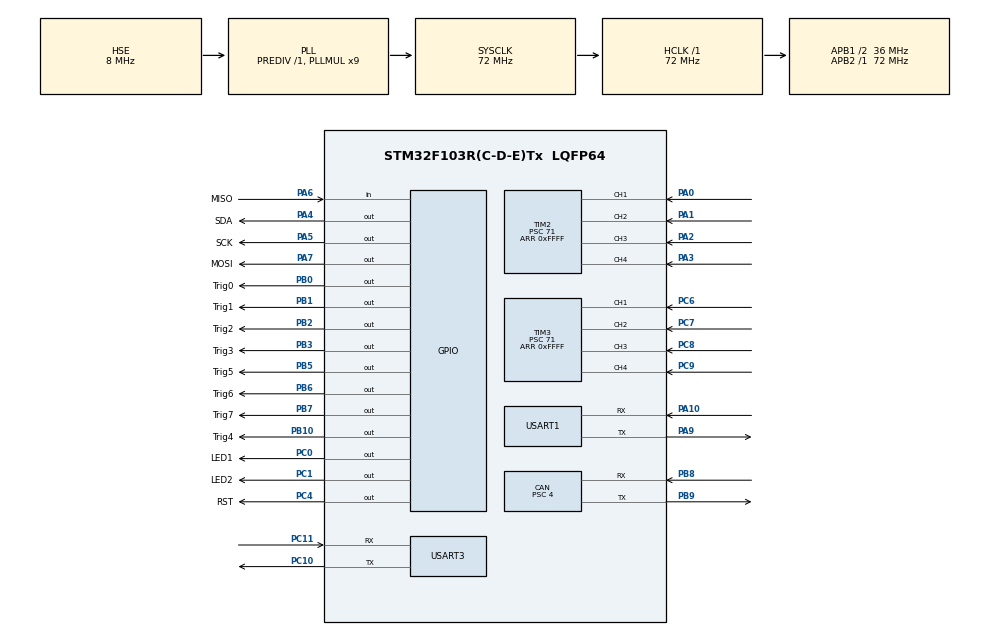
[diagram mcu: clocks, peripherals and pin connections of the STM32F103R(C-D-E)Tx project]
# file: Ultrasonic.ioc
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CAN.ABOM=ENABLE
CAN.BS1=CAN_BS1_4TQ
CAN.BS2=CAN_BS2_4TQ
CAN.CalculateTimeBit=1000
CAN.CalculateTimeQuantum=111.11111111111111
CAN.Prescaler=4
CAN.SJW=CAN_SJW_1TQ
Dma.Request0=USART1_RX
Dma.Request1=USART1_TX
Dma.Request2=USART3_RX
Dma.Request3=USART3_TX
Dma.USART1_RX.0.Direction=DMA_PERIPH_TO_MEMORY
Dma.USART1_RX.0.Instance=DMA1_Channel5
Dma.USART1_RX.0.MemDataAlignment=DMA_MDATAALIGN_BYTE
Dma.USART1_RX.0.MemInc=DMA_MINC_ENABLE
Dma.USART1_RX.0.Mode=DMA_NORMAL
Dma.USART1_RX.0.PeriphDataAlignment=DMA_PDATAALIGN_BYTE
Dma.USART1_RX.0.PeriphInc=DMA_PINC_DISABLE
Dma.USART1_RX.0.Priority=DMA_PRIORITY_LOW
Dma.USART1_TX.1.Direction=DMA_MEMORY_TO_PERIPH
Dma.USART1_TX.1.Instance=DMA1_Channel4
Dma.USART1_TX.1.MemDataAlignment=DMA_MDATAALIGN_BYTE
Dma.USART1_TX.1.MemInc=DMA_MINC_ENABLE
Dma.USART1_TX.1.Mode=DMA_CIRCULAR
Dma.USART1_TX.1.PeriphDataAlignment=DMA_PDATAALIGN_BYTE
Dma.USART1_TX.1.PeriphInc=DMA_PINC_DISABLE
Dma.USART1_TX.1.Priority=DMA_PRIORITY_LOW
Dma.USART3_RX.2.Direction=DMA_PERIPH_TO_MEMORY
Dma.USART3_RX.2.Instance=DMA1_Channel3
Dma.USART3_RX.2.MemDataAlignment=DMA_MDATAALIGN_BYTE
Dma.USART3_RX.2.MemInc=DMA_MINC_ENABLE
Dma.USART3_RX.2.Mode=DMA_NORMAL
Dma.USART3_RX.2.PeriphDataAlignment=DMA_PDATAALIGN_BYTE
Dma.USART3_RX.2.PeriphInc=DMA_PINC_DISABLE
Dma.USART3_RX.2.Priority=DMA_PRIORITY_LOW
Dma.USART3_TX.3.Direction=DMA_MEMORY_TO_PERIPH
Dma.USART3_TX.3.Instance=DMA1_Channel2
Dma.USART3_TX.3.MemDataAlignment=DMA_MDATAALIGN_BYTE
Dma.USART3_TX.3.MemInc=DMA_MINC_ENABLE
Dma.USART3_TX.3.Mode=DMA_NORMAL
Dma.USART3_TX.3.PeriphDataAlignment=DMA_PDATAALIGN_BYTE
Dma.USART3_TX.3.PeriphInc=DMA_PINC_DISABLE
Dma.USART3_TX.3.Priority=DMA_PRIORITY_LOW
Mcu.Family=STM32F1
Mcu.Name=STM32F103R(C-D-E)Tx
Mcu.Package=LQFP64
NVIC.DMA1_Channel2_IRQn=true\:0\:0\:false\:false\:true
NVIC.DMA1_Channel3_IRQn=true\:0\:0\:false\:false\:true
NVIC.DMA1_Channel4_IRQn=true\:0\:0\:false\:false\:true
NVIC.DMA1_Channel5_IRQn=true\:0\:0\:false\:false\:true
NVIC.PriorityGroup=NVIC_PRIORITYGROUP_2
NVIC.TIM2_IRQn=true\:0\:2\:false\:false\:true
NVIC.TIM3_IRQn=true\:0\:2\:false\:false\:true
NVIC.TIM6_IRQn=true\:0\:1\:true\:false\:true
NVIC.USART1_IRQn=true\:0\:0\:false\:false\:true
NVIC.USART3_IRQn=true\:0\:0\:false\:false\:true
PA0-WKUP.Signal=S_TIM2_CH1_ETR
PA1.Signal=S_TIM2_CH2
PA10.Mode=Asynchronous
PA10.Signal=USART1_RX
PA13.Mode=Serial_Wire
PA13.Signal=SYS_JTMS-SWDIO
PA14.Mode=Serial_Wire
PA14.Signal=SYS_JTCK-SWCLK
PA2.Signal=S_TIM2_CH3
PA3.Signal=S_TIM2_CH4
PA4.GPIO_Label=SDA
PA4.GPIO_Speed=GPIO_SPEED_FREQ_HIGH
PA4.Signal=GPIO_Output
PA5.GPIO_Label=SCK
PA5.GPIO_Speed=GPIO_SPEED_FREQ_HIGH
PA5.Signal=GPIO_Output
PA6.GPIO_Label=MISO
PA6.Signal=GPIO_Input
PA7.GPIO_Label=MOSI
PA7.GPIO_Speed=GPIO_SPEED_FREQ_HIGH
PA7.Signal=GPIO_Output
PA9.Mode=Asynchronous
PA9.Signal=USART1_TX
PB0.GPIO_Label=Trig0
PB0.GPIO_Speed=GPIO_SPEED_FREQ_LOW
PB0.Signal=GPIO_Output
PB1.GPIO_Label=Trig1
PB1.Signal=GPIO_Output
PB10.GPIO_Label=Trig4
PB10.Signal=GPIO_Output
PB2.GPIO_Label=Trig2
PB2.Signal=GPIO_Output
PB3.GPIO_Label=Trig3
PB3.Signal=GPIO_Output
PB5.GPIO_Label=Trig5
PB5.Signal=GPIO_Output
PB6.GPIO_Label=Trig6
PB6.Signal=GPIO_Output
PB7.GPIO_Label=Trig7
PB7.Signal=GPIO_Output
PB8.Mode=Master
PB8.Signal=CAN_RX
PB9.Mode=Master
PB9.Signal=CAN_TX
PC0.GPIO_Label=LED1
PC0.Signal=GPIO_Output
PC1.GPIO_Label=LED2
PC1.Signal=GPIO_Output
PC10.Mode=Asynchronous
PC10.Signal=USART3_TX
PC11.Mode=Asynchronous
PC11.Signal=USART3_RX
PC4.GPIO_Label=RST
PC4.GPIO_Speed=GPIO_SPEED_FREQ_HIGH
PC4.PinState=GPIO_PIN_RESET
PC4.Signal=GPIO_Output
PC6.Signal=S_TIM3_CH1
PC7.Signal=S_TIM3_CH2
PC8.Signal=S_TIM3_CH3
PC9.Signal=S_TIM3_CH4
PD0-OSC_IN.Mode=HSE-External-Oscillator
PD0-OSC_IN.Signal=RCC_OSC_IN
PD1-OSC_OUT.Mode=HSE-External-Oscillator
PD1-OSC_OUT.Signal=RCC_OSC_OUT
ProjectManager.HeapSize=0x200
ProjectManager.StackSize=0x400
ProjectManager.TargetToolchain=MDK-ARM V5
RCC.AHBFreq_Value=72000000
RCC.APB1CLKDivider=RCC_HCLK_DIV2
RCC.APB1Freq_Value=36000000
RCC.APB1TimCLKDivider=1
RCC.APB1TimFreq_Value=36000000
RCC.APB2Freq_Value=72000000
RCC.APB2TimFreq_Value=72000000
RCC.HCLKFreq_Value=72000000
RCC.HSIState=RCC_HSI_ON
RCC.PLLMUL=RCC_PLL_MUL9
RCC.PLLSourceVirtual=RCC_PLLSOURCE_HSE
RCC.SYSCLKFreq_VALUE=72000000
RCC.SYSCLKSource=RCC_SYSCLKSOURCE_PLLCLK
RCC.USBFreq_Value=72000000
SH.S_TIM2_CH1_ETR.0=TIM2_CH1,Input_Capture1_from_TI1
SH.S_TIM2_CH2.0=TIM2_CH2,Input_Capture2_from_TI2
SH.S_TIM2_CH3.0=TIM2_CH3,Input_Capture3_from_TI3
SH.S_TIM2_CH4.0=TIM2_CH4,Input_Capture4_from_TI4
SH.S_TIM3_CH1.0=TIM3_CH1,Input_Capture1_from_TI1
SH.S_TIM3_CH2.0=TIM3_CH2,Input_Capture2_from_TI2
SH.S_TIM3_CH3.0=TIM3_CH3,Input_Capture3_from_TI3
SH.S_TIM3_CH4.0=TIM3_CH4,Input_Capture4_from_TI4
TIM2.Channel-Input_Capture2_from_TI2=TIM_CHANNEL_2
TIM2.Channel-Input_Capture3_from_TI3=TIM_CHANNEL_3
TIM2.Channel-Input_Capture4_from_TI4=TIM_CHANNEL_4
TIM2.Period=0xFFFF
TIM2.Prescaler=71
TIM3.Channel-Input_Capture2_from_TI2=TIM_CHANNEL_2
TIM3.Channel-Input_Capture3_from_TI3=TIM_CHANNEL_3
TIM3.Channel-Input_Capture4_from_TI4=TIM_CHANNEL_4
TIM3.Period=0xFFFF
TIM3.Prescaler=71
TIM6.Period=100
TIM6.Prescaler=71
VP_TIM6_VS_ClockSourceINT.Mode=Enable_Timer
board=Ultrasonic

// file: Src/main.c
/**
  ******************************************************************************
  * File Name          : main.c
  * Description        : Main program body
  ******************************************************************************
  *
  * COPYRIGHT(c) 2018 STMicroelectronics
  *
  * Redistribution and use in source and binary forms, with or without modification,
  * are permitted provided that the following conditions are met:
  *   1. Redistributions of source code must retain the above copyright notice,
  *      this list of conditions and the following disclaimer.
  *   2. Redistributions in binary form must reproduce the above copyright notice,
  *      this list of conditions and the following disclaimer in the documentation
  *      and/or other materials provided with the distribution.
  *   3. Neither the name of STMicroelectronics nor the names of its contributors
  *      may be used to endorse or promote products derived from this software
  *      without specific prior written permission.
  *
  * THIS SOFTWARE IS PROVIDED BY THE COPYRIGHT HOLDERS AND CONTRIBUTORS "AS IS"
  * AND ANY EXPRESS OR IMPLIED WARRANTIES, INCLUDING, BUT NOT LIMITED TO, THE
  * IMPLIED WARRANTIES OF MERCHANTABILITY AND FITNESS FOR A PARTICULAR PURPOSE ARE
  * DISCLAIMED. IN NO EVENT SHALL THE COPYRIGHT HOLDER OR CONTRIBUTORS BE LIABLE
  * FOR ANY DIRECT, INDIRECT, INCIDENTAL, SPECIAL, EXEMPLARY, OR CONSEQUENTIAL
  * DAMAGES (INCLUDING, BUT NOT LIMITED TO, PROCUREMENT OF SUBSTITUTE GOODS OR
  * SERVICES; LOSS OF USE, DATA, OR PROFITS; OR BUSINESS INTERRUPTION) HOWEVER
  * CAUSED AND ON ANY THEORY OF LIABILITY, WHETHER IN CONTRACT, STRICT LIABILITY,
  * OR TORT (INCLUDING NEGLIGENCE OR OTHERWISE) ARISING IN ANY WAY OUT OF THE USE
  * OF THIS SOFTWARE, EVEN IF ADVISED OF THE POSSIBILITY OF SUCH DAMAGE.
  *
  ******************************************************************************
  */
#include "stm32f1xx_hal.h"
#include "can.h"
#include "dma.h"
#include "tim.h"
#include "usart.h"
#include "gpio.h"

/* USER CODE BEGIN Includes */
#include "RFID_RC522.h"
#include "Ultrasonic.h"
#include "User.h"
uint16_t overflow;

/* USER CODE END Includes */

/* USER CODE BEGIN PV */
/* Private variables ---------------------------------------------------------*/

/* USER CODE END PV */

void SystemClock_Config(void);

/* USER CODE BEGIN PFP */
/* Private function prototypes -----------------------------------------------*/

/* USER CODE END PFP */

int main(void)
{

  /* USER CODE BEGIN 1 */
	char cStr [ 30 ];
	uint8_t ucArray_ID [ 4 ];   /*先后存放IC卡的类型和UID(IC卡序列号)*/
	uint8_t ucStatusReturn;     /*返回状态 */
	static uint8_t ucLineCount = 0;

  /* USER CODE END 1 */

  /* MCU Configuration----------------------------------------------------------*/

  /* Reset of all peripherals, Initializes the Flash interface and the Systick. */
  HAL_Init();

  /* Configure the system clock */
  SystemClock_Config();

  /* Initialize all configured peripherals */
  MX_GPIO_Init();
  MX_DMA_Init();
  MX_CAN_Init();
  MX_TIM2_Init();
  MX_TIM3_Init();
  MX_TIM6_Init();
  MX_USART1_UART_Init();
  MX_USART3_UART_Init();

  /* USER CODE BEGIN 2 */
	delay_init(72);

//	HAL_TIM_IC_Start_IT(&htim3,TIM_CHANNEL_1);

//	HAL_TIM_IC_Start_IT(&htim2,TIM_CHANNEL_1);

	RC522_Init();

	PcdReset ();
 // HAL_GPIO_WritePin(GPIOB,Trig4_Pin,GPIO_PIN_RESET);
  /*设置工作方式*/
	M500PcdConfigISOType ( 'A' );
	printf("Text\r\n");
	delay_us(200);
//	HAL_TIM_Base_Start_IT(&htim6);
  /* USER CODE END 2 */

  /* Infinite loop */
  while (1)
  {

  /* USER CODE BEGIN 3 */
//      Ultrasonic_Transmit(20,Distance1,Distance2,Distance3,Distance4,Distance5,Distance6,Distance7,Distance8);
//	  printf("%d  %d  %d  %d %d  %d  %d  %d\r\n",Distance1,Distance2,Distance3,Distance4,Distance5,Distance6,Distance7,Distance8);
//	  delay_us(200000);
		if ( ( ucStatusReturn = PcdRequest ( PICC_REQALL, ucArray_ID ) ) != MI_OK )
		{
       /*若失败再次寻卡*/
			ucStatusReturn = PcdRequest ( PICC_REQALL, ucArray_ID );

		}

		if ( ucStatusReturn == MI_OK  )
		{
      /*防冲撞（当有多张卡进入读写器操作范围时，防冲突机制会从其中选择一张进行操作）*/
			if ( PcdAnticoll ( ucArray_ID ) == MI_OK )
			{
				sprintf ( cStr, "%02X%02X%02X%02X",
                  ucArray_ID [ 0 ],
                  ucArray_ID [ 1 ],
                  ucArray_ID [ 2 ],
                  ucArray_ID [ 3 ]);
				RFID_RC522_Transmit(12,cStr);
//				printf ( "%s\r\n",cStr );
				ucLineCount ++;

				if ( ucLineCount == 10 ) ucLineCount = 0;
			}
		}
		else
			RFID_RC522_Transmit(12,"00000000");
  }
  /* USER CODE END 3 */

}

/** System Clock Configuration
*/
void SystemClock_Config(void)
{

  RCC_OscInitTypeDef RCC_OscInitStruct;
  RCC_ClkInitTypeDef RCC_ClkInitStruct;

  RCC_OscInitStruct.OscillatorType = RCC_OSCILLATORTYPE_HSE;
  RCC_OscInitStruct.HSEState = RCC_HSE_ON;
  RCC_OscInitStruct.HSEPredivValue = RCC_HSE_PREDIV_DIV1;
  RCC_OscInitStruct.PLL.PLLState = RCC_PLL_ON;
  RCC_OscInitStruct.PLL.PLLSource = RCC_PLLSOURCE_HSE;
  RCC_OscInitStruct.PLL.PLLMUL = RCC_PLL_MUL9;
  HAL_RCC_OscConfig(&RCC_OscInitStruct);

  RCC_ClkInitStruct.ClockType = RCC_CLOCKTYPE_HCLK|RCC_CLOCKTYPE_SYSCLK
                              |RCC_CLOCKTYPE_PCLK1|RCC_CLOCKTYPE_PCLK2;
  RCC_ClkInitStruct.SYSCLKSource = RCC_SYSCLKSOURCE_PLLCLK;
  RCC_ClkInitStruct.AHBCLKDivider = RCC_SYSCLK_DIV1;
  RCC_ClkInitStruct.APB1CLKDivider = RCC_HCLK_DIV2;
  RCC_ClkInitStruct.APB2CLKDivider = RCC_HCLK_DIV1;
  HAL_RCC_ClockConfig(&RCC_ClkInitStruct, FLASH_LATENCY_2);

  HAL_SYSTICK_Config(HAL_RCC_GetHCLKFreq()/1000);

  HAL_SYSTICK_CLKSourceConfig(SYSTICK_CLKSOURCE_HCLK);

  /* SysTick_IRQn interrupt configuration */
  HAL_NVIC_SetPriority(SysTick_IRQn, 0, 0);
}

/************************ (C) COPYRIGHT STMicroelectronics *****END OF FILE****/
